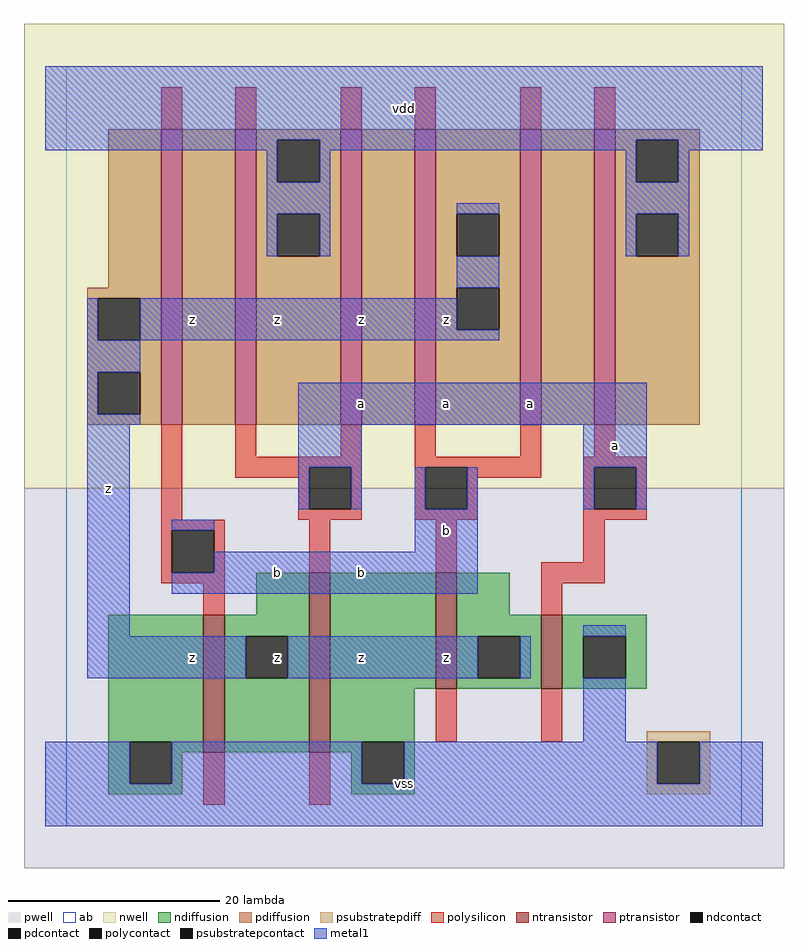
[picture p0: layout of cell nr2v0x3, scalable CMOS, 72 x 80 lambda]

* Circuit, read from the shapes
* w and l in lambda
.subckt nr2v0x3 a b vdd vss z
M1 z b vss vss nfet w=13 l=2
M2 vss a z vss nfet w=17 l=2
M3 z b vss vss nfet w=11 l=2
M4 vss a z vss nfet w=7 l=2
M5 n1 b z n2 pfet w=28 l=2
M6 vdd a n1 n2 pfet w=28 l=2
M7 n3 a vdd n2 pfet w=28 l=2
M8 z b n3 n2 pfet w=28 l=2
M9 n4 b z n2 pfet w=28 l=2
M10 vdd a n4 n2 pfet w=28 l=2
.ends

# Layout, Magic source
magic
tech scmos
<< ab >>
rect 0 0 64 72
<< pwell >>
rect -4 -4 68 32
<< nwell >>
rect -4 32 68 76
<< polysilicon >>
rect 9 66 11 70
rect 16 66 18 70
rect 26 66 28 70
rect 33 66 35 70
rect 43 66 45 70
rect 50 66 52 70
rect 9 29 11 38
rect 16 35 18 38
rect 26 35 28 38
rect 16 34 28 35
rect 16 33 23 34
rect 22 30 23 33
rect 27 30 28 34
rect 22 29 28 30
rect 33 35 35 38
rect 43 35 45 38
rect 50 35 52 38
rect 33 34 45 35
rect 33 30 34 34
rect 38 33 45 34
rect 49 34 55 35
rect 38 30 39 33
rect 33 29 39 30
rect 49 30 50 34
rect 54 30 55 34
rect 49 29 55 30
rect 9 28 15 29
rect 9 24 10 28
rect 14 24 15 28
rect 23 24 25 29
rect 35 24 37 29
rect 49 25 51 29
rect 9 23 15 24
rect 13 20 15 23
rect 45 23 51 25
rect 45 20 47 23
rect 35 8 37 13
rect 45 8 47 13
rect 13 2 15 7
rect 23 2 25 7
<< ndiffusion >>
rect 18 20 23 24
rect 4 8 13 20
rect 4 4 6 8
rect 10 7 13 8
rect 15 18 23 20
rect 15 14 17 18
rect 21 14 23 18
rect 15 7 23 14
rect 25 13 35 24
rect 37 20 42 24
rect 37 18 45 20
rect 37 14 39 18
rect 43 14 45 18
rect 37 13 45 14
rect 47 18 55 20
rect 47 14 49 18
rect 53 14 55 18
rect 47 13 55 14
rect 25 8 33 13
rect 25 7 28 8
rect 10 4 11 7
rect 4 3 11 4
rect 27 4 28 7
rect 32 4 33 8
rect 27 3 33 4
<< pdiffusion >>
rect 4 51 9 66
rect 2 50 9 51
rect 2 46 3 50
rect 7 46 9 50
rect 2 43 9 46
rect 2 39 3 43
rect 7 39 9 43
rect 2 38 9 39
rect 11 38 16 66
rect 18 65 26 66
rect 18 61 20 65
rect 24 61 26 65
rect 18 58 26 61
rect 18 54 20 58
rect 24 54 26 58
rect 18 38 26 54
rect 28 38 33 66
rect 35 58 43 66
rect 35 54 37 58
rect 41 54 43 58
rect 35 51 43 54
rect 35 47 37 51
rect 41 47 43 51
rect 35 38 43 47
rect 45 38 50 66
rect 52 65 60 66
rect 52 61 54 65
rect 58 61 60 65
rect 52 58 60 61
rect 52 54 54 58
rect 58 54 60 58
rect 52 38 60 54
<< metal1 >>
rect -2 65 66 72
rect -2 64 20 65
rect 19 61 20 64
rect 24 64 54 65
rect 24 61 25 64
rect 19 58 25 61
rect 53 61 54 64
rect 58 64 66 65
rect 58 61 59 64
rect 19 54 20 58
rect 24 54 25 58
rect 37 58 41 59
rect 53 58 59 61
rect 53 54 54 58
rect 58 54 59 58
rect 37 51 41 54
rect 2 46 3 50
rect 7 47 37 50
rect 7 46 41 47
rect 2 43 7 46
rect 2 39 3 43
rect 2 38 7 39
rect 22 38 55 42
rect 2 18 6 38
rect 22 34 28 38
rect 49 34 55 38
rect 22 30 23 34
rect 27 30 28 34
rect 33 30 34 34
rect 38 30 39 34
rect 49 30 50 34
rect 54 30 55 34
rect 10 28 14 29
rect 33 26 39 30
rect 14 24 39 26
rect 10 22 39 24
rect 49 18 53 19
rect 2 14 17 18
rect 21 14 39 18
rect 43 14 44 18
rect 49 8 53 14
rect -2 4 6 8
rect 10 4 28 8
rect 32 4 56 8
rect 60 4 66 8
rect -2 0 66 4
<< ntransistor >>
rect 13 7 15 20
rect 23 7 25 24
rect 35 13 37 24
rect 45 13 47 20
<< ptransistor >>
rect 9 38 11 66
rect 16 38 18 66
rect 26 38 28 66
rect 33 38 35 66
rect 43 38 45 66
rect 50 38 52 66
<< polycontact >>
rect 23 30 27 34
rect 34 30 38 34
rect 50 30 54 34
rect 10 24 14 28
<< ndcontact >>
rect 6 4 10 8
rect 17 14 21 18
rect 39 14 43 18
rect 49 14 53 18
rect 28 4 32 8
<< pdcontact >>
rect 3 46 7 50
rect 3 39 7 43
rect 20 61 24 65
rect 20 54 24 58
rect 37 54 41 58
rect 37 47 41 51
rect 54 61 58 65
rect 54 54 58 58
<< psubstratepcontact >>
rect 56 4 60 8
<< psubstratepdiff >>
rect 55 8 61 9
rect 55 4 56 8
rect 60 4 61 8
rect 55 3 61 4
<< labels >>
rlabel metal1 12 16 12 16 6 z
rlabel metal1 4 32 4 32 6 z
rlabel metal1 12 48 12 48 6 z
rlabel ndcontact 20 16 20 16 6 z
rlabel metal1 28 16 28 16 6 z
rlabel metal1 20 24 20 24 6 b
rlabel metal1 28 24 28 24 6 b
rlabel metal1 28 40 28 40 6 a
rlabel metal1 20 48 20 48 6 z
rlabel metal1 28 48 28 48 6 z
rlabel metal1 32 4 32 4 6 vss
rlabel metal1 36 16 36 16 6 z
rlabel metal1 36 28 36 28 6 b
rlabel metal1 44 40 44 40 6 a
rlabel metal1 36 40 36 40 6 a
rlabel metal1 36 48 36 48 6 z
rlabel metal1 32 68 32 68 6 vdd
rlabel metal1 52 36 52 36 6 a
<< end >>
